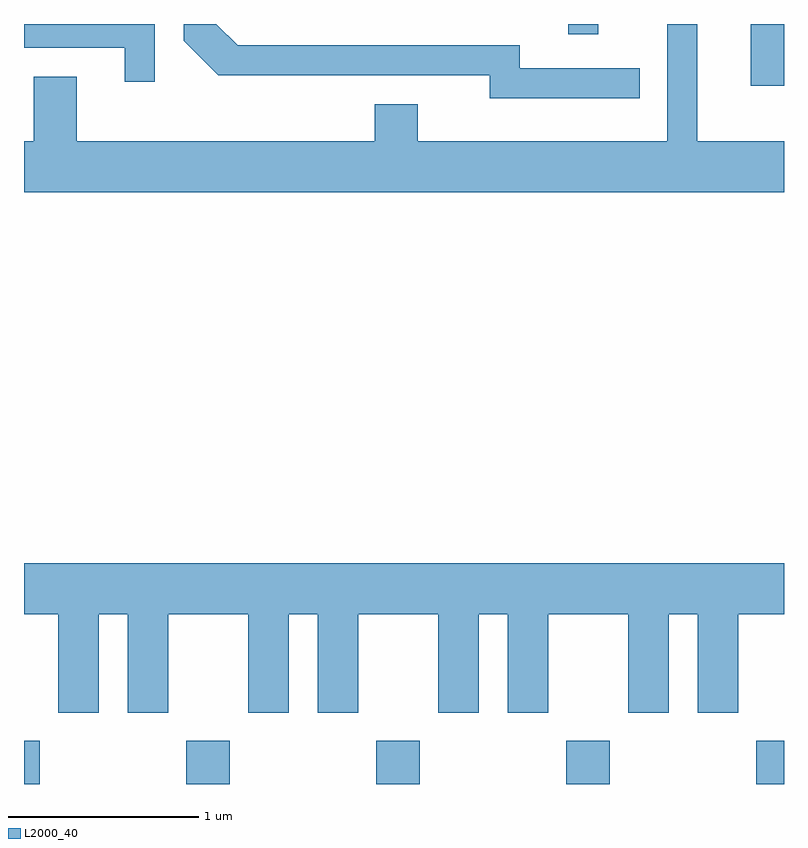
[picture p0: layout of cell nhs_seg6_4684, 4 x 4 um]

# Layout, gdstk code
import gdstk
lib = gdstk.Library(unit=1e-6, precision=1e-09)
def R(c, l, rs):  # rectangles x0, y0, x1, y1
    for r in rs: c.add(gdstk.rectangle(r[:2], r[2:], *l))
def A(c, l, x, y, w, h, nx, ny, dx, dy):  # array of equal rectangles
    R(c, l, [(x+i*dx, y+j*dy, x+i*dx+w, y+j*dy+h) for i in range(nx) for j in range(ny)])
def P(c, l, *ps):  # polygons
    for p in ps: c.add(gdstk.Polygon(p, *l))
L2000_40 = (2000, 40)

nhs_seg6_4684 = lib.new_cell('nhs_seg6_4684')
A(nhs_seg6_4684, L2000_40, 328.466, 1640.162, 0.228, 0.227, 3, 1, 1, 0)
R(nhs_seg6_4684, L2000_40, [(327.611,1640.162,327.694,1640.389), (331.466,1640.162,331.611,1640.389), (331.436,1643.836,331.611,1644.162), (330.476,1644.108,330.634,1644.162)])
P(nhs_seg6_4684, L2000_40, [(331.611,1643.544),(331.154,1643.544),(331.154,1644.162),(330.996,1644.162),(330.996,1643.544),(329.684,1643.544),(329.684,1643.739),(329.456,1643.739),(329.456,1643.544),(327.889,1643.544),(327.889,1643.884),(327.661,1643.884),(327.661,1643.544),(327.611,1643.544),(327.611,1643.276),(331.611,1643.276)],
  [(330.853,1643.929),(330.219,1643.929),(330.219,1644.049),(328.737,1644.049),(328.624,1644.162),(328.451,1644.162),(328.451,1644.074),(328.634,1643.891),(330.061,1643.891),(330.061,1643.771),(330.853,1643.771)],
  [(328.299,1644.162),(327.611,1644.162),(327.611,1644.036),(328.141,1644.036),(328.141,1643.858),(328.299,1643.858)],
  [(328.004,1641.056),(328.156,1641.056),(328.156,1640.536),(328.369,1640.536),(328.369,1641.056),(328.791,1641.056),(328.791,1640.536),(329.004,1640.536),(329.004,1641.056),(329.156,1641.056),(329.156,1640.536),(329.369,1640.536),(329.369,1641.056),(329.791,1641.056),(329.791,1640.536),(330.004,1640.536),(330.004,1641.056),(330.156,1641.056),(330.156,1640.536),(330.369,1640.536),(330.369,1641.056),(330.791,1641.056),(330.791,1640.536),(331.004,1640.536),(331.004,1641.056),(331.156,1641.056),(331.156,1640.536),(331.369,1640.536),(331.369,1641.056),(331.611,1641.056),(331.611,1641.324),(327.611,1641.324),(327.611,1641.056),(327.791,1641.056),(327.791,1640.536),(328.004,1640.536)])

lib.write_gds('nhs_seg6_4684.gds')
